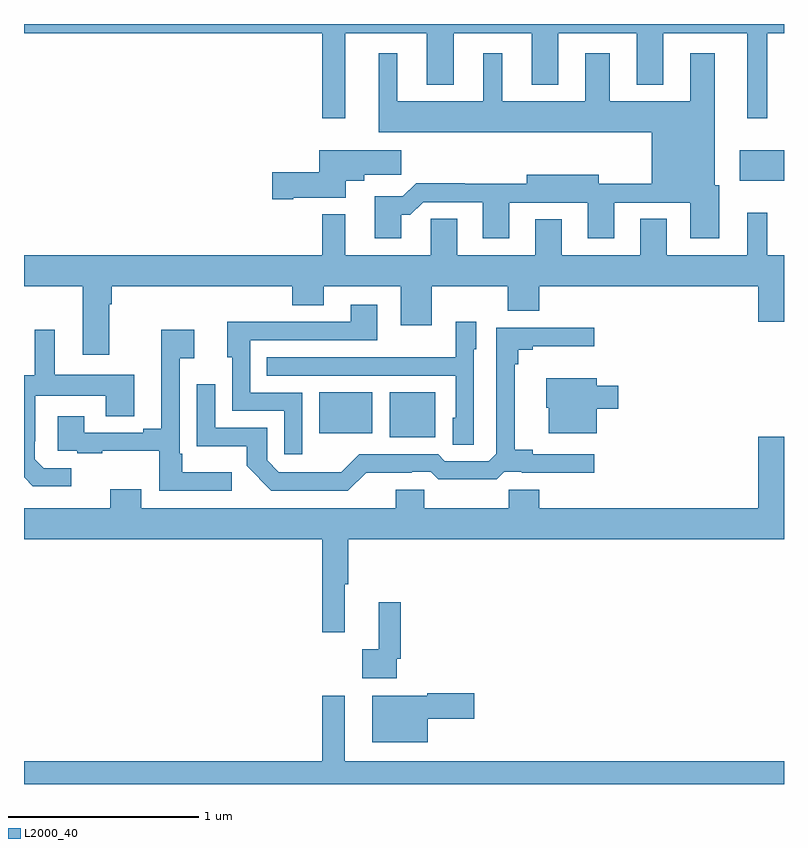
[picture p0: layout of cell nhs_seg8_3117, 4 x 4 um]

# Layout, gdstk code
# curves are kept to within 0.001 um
import gdstk
lib = gdstk.Library(unit=1e-6, precision=1e-09)
def R(c, l, rs):  # rectangles x0, y0, x1, y1
    for r in rs: c.add(gdstk.rectangle(r[:2], r[2:], *l))
def P(c, l, *ps):  # polygons
    for p in ps: c.add(gdstk.Polygon(p, *l))
L2000_40 = (2000, 40)

nhs_seg8_3117 = lib.new_cell('nhs_seg8_3117')
R(nhs_seg8_3117, L2000_40, [(306.926,1095.725,307.165,1095.961), (306.554,1095.746,306.832,1095.961), (308.766,1097.075,309,1097.236)])
P(nhs_seg8_3117, L2000_40, [(306.691,1097.852),(307.121,1097.852),(307.121,1097.579),(307.261,1097.579),(307.261,1097.852),(307.673,1097.852),(307.673,1097.579),(307.813,1097.579),(307.813,1097.852),(308.225,1097.852),(308.225,1097.579),(308.365,1097.579),(308.365,1097.852),(308.807,1097.852),(308.807,1097.403),(308.911,1097.403),(308.911,1097.852),(309,1097.852),(309,1097.9),(305,1097.9),(305,1097.852),(306.57,1097.852),(306.57,1097.403),(306.691,1097.403)],
  [(306.985,1096.895),(307.034,1096.895),(307.101,1096.962),(307.415,1096.962),(307.415,1096.773),(307.555,1096.773),(307.555,1096.959),(307.967,1096.958),(307.967,1096.773),(308.107,1096.773),(308.107,1096.959),(308.507,1096.959),(308.507,1096.773),(308.659,1096.773),(308.659,1097.052),(308.635,1097.052),(308.635,1097.746),(308.507,1097.746),(308.507,1097.494),(308.083,1097.494),(308.083,1097.746),(307.955,1097.746),(307.955,1097.494),(307.516,1097.494),(307.516,1097.746),(307.418,1097.746),(307.418,1097.494),(306.964,1097.494),(306.964,1097.746),(306.866,1097.746),(306.866,1097.33),(308.303,1097.33),(308.303,1097.06),(308.026,1097.06),(308.026,1097.107),(307.646,1097.107),(307.646,1097.06),(307.319,1097.06),(307.319,1097.063),(307.064,1097.063),(306.994,1096.993),(306.845,1096.993),(306.845,1096.773),(306.985,1096.773)],
  [(306.418,1096.985),(306.694,1096.985),(306.694,1097.075),(306.79,1097.075),(306.79,1097.107),(306.985,1097.107),(306.985,1097.236),(306.554,1097.236),(306.554,1097.12),(306.306,1097.12),(306.306,1096.978),(306.418,1096.978)],
  [(305,1096.52),(305.309,1096.52),(305.309,1096.158),(305.449,1096.158),(305.449,1096.424),(305.462,1096.424),(305.462,1096.52),(306.413,1096.52),(306.413,1096.421),(306.577,1096.421),(306.577,1096.52),(306.983,1096.52),(306.983,1096.314),(307.147,1096.314),(307.147,1096.52),(307.547,1096.52),(307.547,1096.392),(307.711,1096.392),(307.711,1096.52),(308.864,1096.52),(308.864,1096.332),(309,1096.332),(309,1096.684),(308.911,1096.684),(308.911,1096.906),(308.807,1096.906),(308.807,1096.684),(308.383,1096.684),(308.383,1096.874),(308.243,1096.874),(308.243,1096.684),(307.831,1096.684),(307.831,1096.873),(307.691,1096.873),(307.691,1096.684),(307.279,1096.684),(307.279,1096.874),(307.14,1096.874),(307.14,1096.684),(306.691,1096.684),(306.691,1096.9),(306.57,1096.9),(306.57,1096.684),(305,1096.684)],
  [(306.465,1095.96),(306.192,1095.96),(306.192,1096.236),(306.859,1096.236),(306.859,1096.423),(306.719,1096.423),(306.719,1096.332),(306.289,1096.332),(306.289,1096.334),(306.071,1096.334),(306.071,1096.146),(306.096,1096.146),(306.096,1095.864),(306.369,1095.864),(306.369,1095.636),(306.465,1095.636)],
  [(307.368,1096.188),(307.381,1096.188),(307.381,1096.333),(307.272,1096.333),(307.272,1096.147),(306.955,1096.147),(306.955,1096.146),(306.277,1096.146),(306.277,1096.05),(307.272,1096.05),(307.272,1095.828),(307.256,1095.828),(307.256,1095.685),(307.368,1095.685)],
  [(306.8,1095.539),(307.04,1095.539),(307.04,1095.543),(307.14,1095.543),(307.18,1095.504),(307.487,1095.504),(307.527,1095.543),(307.621,1095.543),(307.621,1095.539),(308.002,1095.539),(308.002,1095.636),(307.678,1095.636),(307.678,1095.659),(307.582,1095.659),(307.582,1096.109),(307.601,1096.109),(307.601,1096.186),(307.678,1096.186),(307.678,1096.205),(308.002,1096.205),(308.002,1096.302),(307.485,1096.302),(307.485,1095.639),(307.446,1095.6),(307.215,1095.6),(307.179,1095.636),(306.765,1095.636),(306.671,1095.542),(306.566,1095.542),(306.566,1095.54),(306.342,1095.54),(306.279,1095.603),(306.279,1095.774),(306.006,1095.774),(306.006,1096.003),(305.91,1096.003),(305.91,1095.677),(306.172,1095.677),(306.172,1095.575),(306.302,1095.444),(306.705,1095.444)],
  [(305.248,1095.561),(305.103,1095.561),(305.056,1095.608),(305.056,1095.703),(305.058,1095.703),(305.058,1095.944),(305.429,1095.944),(305.429,1095.835),(305.581,1095.835),(305.581,1096.054),(305.161,1096.054),(305.161,1096.291),(305.057,1096.291),(305.057,1096.052),(305,1096.052),(305,1095.514),(305.047,1095.467),(305.248,1095.467)],
  [(306.094,1095.541),(305.833,1095.541),(305.833,1095.637),(305.82,1095.637),(305.82,1096.142),(305.896,1096.142),(305.896,1096.291),(305.723,1096.291),(305.723,1095.769),(305.627,1095.769),(305.627,1095.75),(305.317,1095.75),(305.317,1095.835),(305.177,1095.835),(305.177,1095.654),(305.281,1095.654),(305.281,1095.642),(305.413,1095.642),(305.413,1095.653),(305.712,1095.653),(305.712,1095.444),(306.094,1095.444)],
  [(308.014,1095.875),(308.128,1095.875),(308.128,1095.997),(308.014,1095.997),(308.014,1096.036),(307.748,1096.036),(307.748,1095.879),(307.763,1095.879),(307.763,1095.746),(308.014,1095.746)],
  [(306.689,1094.952),(306.707,1094.952),(306.707,1095.188),(309,1095.188),(309,1095.727),(308.864,1095.727),(308.864,1095.352),(307.712,1095.352),(307.712,1095.45),(307.552,1095.45),(307.552,1095.352),(307.107,1095.352),(307.107,1095.45),(306.956,1095.45),(306.956,1095.352),(305.617,1095.352),(305.617,1095.451),(305.453,1095.451),(305.453,1095.352),(305,1095.352),(305,1095.188),(306.571,1095.188),(306.571,1094.7),(306.689,1094.7)],
  [(306.963,1094.56),(306.983,1094.56),(306.983,1094.857),(306.866,1094.857),(306.866,1094.609),(306.78,1094.609),(306.78,1094.456),(306.963,1094.456)],
  [(307.126,1094.243),(307.369,1094.243),(307.369,1094.378),(307.122,1094.378),(307.122,1094.365),(306.833,1094.365),(306.833,1094.12),(307.126,1094.12)],
  [(306.688,1094.365),(306.571,1094.365),(306.571,1094.02),(305,1094.02),(305,1093.9),(309,1093.9),(309,1094.02),(306.688,1094.02)])

lib.write_gds('nhs_seg8_3117.gds')
